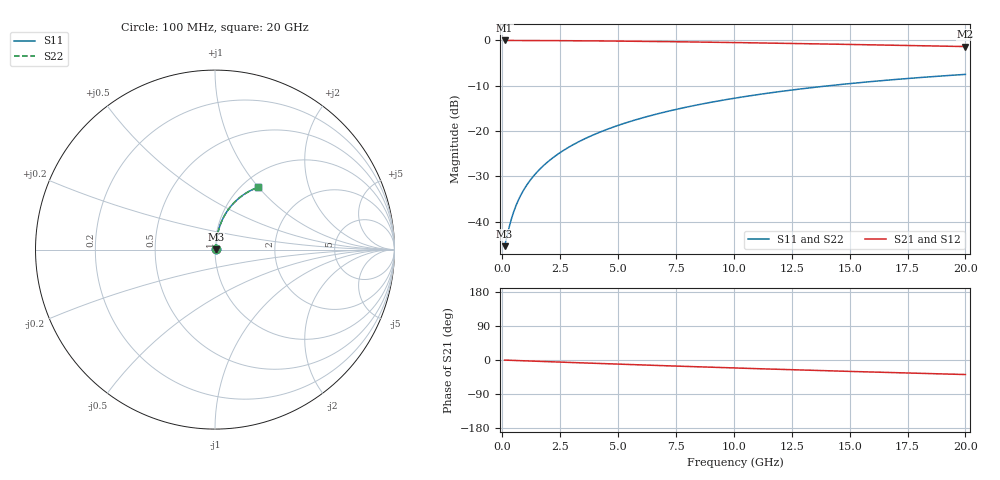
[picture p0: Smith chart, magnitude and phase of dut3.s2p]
! Touchstone file exported from HFSS 2024.1.0
!  File:  C:/UserFiles/LocalFiles/RDL_TSV_Batchsim/temp_RDL_bottom_3_1778690925.aedt
!  Generated:  12:52:00 AM May 14, 2026
!  Design:  RDL_bottom
!  Project:  temp_RDL_bottom_3_1778690925
!  Setup:  Setup1
!  Solution:  Sweep
! Variables:
!  dtsv = 10.80580581um
!  hbump = 3um
!  htsv = 95.61um
!  ldown = 477.76um
!  lrdl = 100um
!  p = 40
!  p1 = 50.18um
!  rhole = 1um
!  t = 450um
!  tdown = 2.33um
!  trdl = 3.915915916um
!  wdown = 15.85um
!  wrdl = 20um
# GHz S MA R 50.000000
! Terminal data exported
! Port[1] = RDL1_T1
! Port[2] = RDL1_T2
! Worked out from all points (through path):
!   200 points, 100 MHz to 20 GHz, reference 50 ohm
!   highest |S21| = -0.04 dB at 100 MHz (marker M1); lowest = -1.4 dB at 20 GHz (marker M2)
!   group delay of S21, straight-line fit = 5.32 ps
!   lowest |S11| = -45.4 dB at 100 MHz (marker M3), VSWR 1.01, Z = 50.5 + j0.245 ohm
!   |S11| at or under -10 dB: start of sweep to 14.15 GHz
!   |S22| runs from -45.4 to -7.5 dB; largest |S21 - S12| = 4.5e-15
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0.1  0.005372 26.8  0.9952 -0.2  0.9952 -0.2  0.005372 26.8
! Gamma 0 0 0 0
! Port Impedance 50 0 50 0
0.3  0.00877 55.4  0.995 -0.7  0.995 -0.7  0.00877 55.4
0.4  0.01086 61.9  0.9949 -0.9  0.9949 -0.9  0.01086 61.9
0.5  0.01302 66.1  0.9947 -1.1  0.9947 -1.1  0.01302 66.1
0.6  0.01521 69.1  0.9945 -1.4  0.9945 -1.4  0.01521 69.1
0.7  0.01742 71.2  0.9944 -1.6  0.9944 -1.6  0.01742 71.2
0.9  0.02185 74.2  0.994 -2.0  0.994 -2.0  0.02185 74.2
1.2  0.02852 76.9  0.9934 -2.7  0.9934 -2.7  0.02852 76.9
1.4  0.03299 78.0  0.993 -3.1  0.993 -3.1  0.03299 78.0
1.7  0.03971 79.2  0.9924 -3.8  0.9924 -3.8  0.03972 79.2
2.2  0.051 80.2  0.9911 -4.9  0.9911 -4.9  0.051 80.2
2.8  0.06464 80.7  0.9892 -6.2  0.9892 -6.2  0.06464 80.7
3.5  0.08066 80.6  0.9866 -7.7  0.9866 -7.7  0.08066 80.6
4.2  0.09676 80.2  0.9834 -9.2  0.9834 -9.2  0.09676 80.2
5  0.1152 79.5  0.9793 -10.9  0.9793 -10.9  0.1152 79.4
5.9  0.136 78.4  0.974 -12.8  0.974 -12.8  0.136 78.4
6.8  0.1568 77.2  0.9682 -14.6  0.9682 -14.6  0.1568 77.2
8.4  0.1933 74.7  0.9567 -17.8  0.9567 -17.8  0.1933 74.7
10.1  0.2313 71.9  0.9432 -21.2  0.9432 -21.2  0.2313 71.9
13.4  0.3013 66.3  0.9144 -27.3  0.9144 -27.3  0.3012 66.3
16.7  0.3646 60.7  0.8838 -33.0  0.8838 -33.0  0.3645 60.7
20  0.4207 55.5  0.8525 -38.3  0.8525 -38.3  0.4206 55.4
